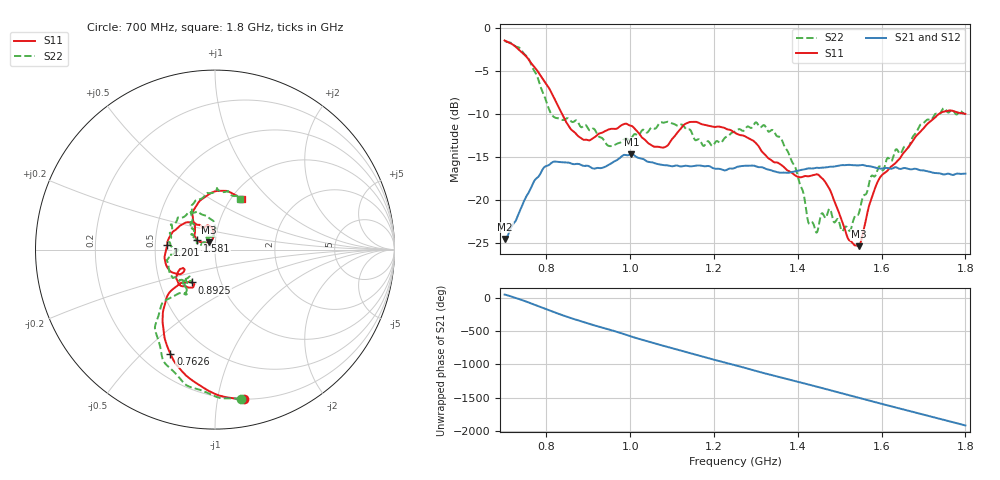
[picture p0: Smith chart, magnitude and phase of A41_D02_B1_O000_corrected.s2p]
! Created with skrf 1.9.0 (http://scikit-rf.org).
# Hz S RI R 50.0
!freq ReS11 ImS11 ReS21 ImS21 ReS12 ImS12 ReS22 ImS22
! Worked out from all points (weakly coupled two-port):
!   1601 points, 700 MHz to 1.8 GHz, reference 50 ohm
!   highest |S21| = -14.66 dB at 1.002 GHz (marker M1); lowest = -24.5 dB at 701.4 MHz (marker M2)
!   lowest |S11| = -25.4 dB at 1.545 GHz (marker M3), VSWR 1.11, Z = 46.5 + j3.88 ohm
!   |S11| at or under -10 dB: 837.4 MHz to 1.736 GHz (898.3 MHz wide, 69.8 % of centre)
!   |S22| runs from -23.8 to -1.5 dB; largest |S21 - S12| = 0.0034
!   S11 on the Smith chart (normalised r, x): 700 MHz: 0.20, -1.19; 762.6 MHz: 0.32, -0.61; 892.5 MHz: 0.72, -0.28; 1.201 GHz: 0.58, +0.03; 1.581 GHz: 0.82, +0.08; 1.8 GHz: 1.12, +0.70
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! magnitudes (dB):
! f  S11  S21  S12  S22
! 700 MHz  -1.4  -24.5  -24.3  -1.5
! 701.4 MHz  -1.4  -24.5  -24.1  -1.5
! 762.6 MHz  -4.0  -18.6  -18.6  -4.1
! 814.1 MHz  -7.7  -15.6  -15.6  -10.1
! 883.6 MHz  -12.8  -15.9  -15.8  -11.5
! 892.5 MHz  -13.0  -16.0  -16.1  -11.2
! 950.2 MHz  -11.7  -15.8  -15.8  -13.7
! 1.002 GHz  -11.3  -14.7  -14.8  -12.8
! 1.067 GHz  -13.8  -15.8  -15.8  -11.2
! 1.139 GHz  -11.0  -16.0  -16.0  -11.8
! 1.201 GHz  -11.5  -16.3  -16.3  -13.4
! 1.25 GHz  -12.2  -16.2  -16.2  -12.0
! 1.3 GHz  -13.4  -16.1  -16.1  -10.9
! 1.359 GHz  -15.8  -16.8  -16.8  -12.7
! 1.434 GHz  -17.1  -16.3  -16.3  -22.6
! 1.472 GHz  -18.4  -16.2  -16.2  -21.4
! 1.523 GHz  -24.7  -15.9  -15.9  -23.6
! 1.545 GHz  -25.4  -16.0  -15.9  -21.6
! 1.581 GHz  -19.1  -16.2  -16.2  -17.2
! 1.617 GHz  -16.4  -16.3  -16.3  -15.1
! 1.737 GHz  -10.0  -16.9  -16.9  -10.0
! 1.8 GHz  -10.0  -16.9  -16.9  -10.0
